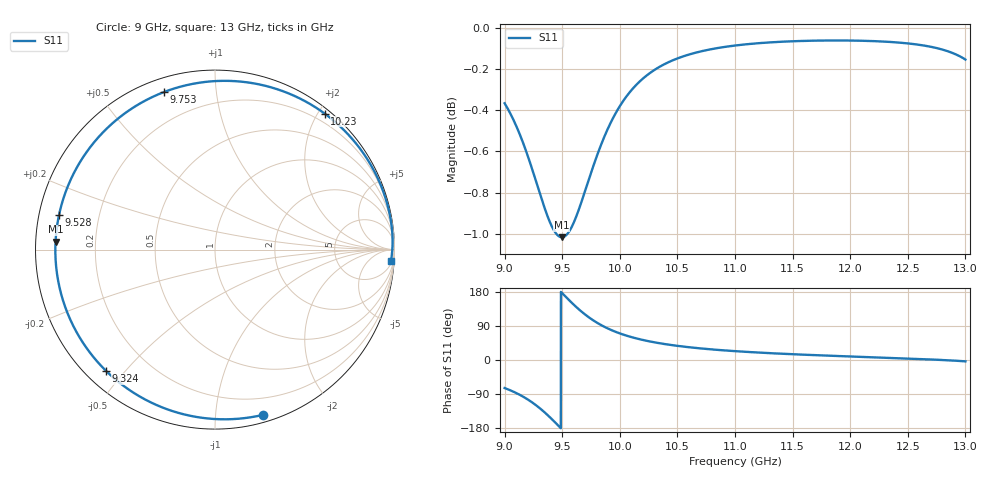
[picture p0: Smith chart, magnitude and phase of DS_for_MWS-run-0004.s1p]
! TOUCHSTONE file generated by CST DESIGN STUDIO
! Date and time: Tue Feb  4 17:06:43 2025
! Project name: C:\Work\MatlabApps\UnitCellOptimizationMatlab\CST\unitcell.cst
! Tree item: Tasks\Sweep1\SPara1\S-Parameters
! Header version: 2024
! Port assignment regex: !\s*Touchstone port\s*([0-9]+)\s*=\s*(CST MWS port|CST DES external port|CST DES block port)\s*(.+)\s* \(\"(.*)\"\)(\s*mode\s*([0-9]+))?.*
! Touchstone port assignment:
! Touchstone port 1 = CST DES external port 1 ("")
# GHz S MA R 50
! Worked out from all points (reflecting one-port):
!   4001 points, 9 GHz to 13 GHz, reference 50 ohm
!   lowest |S11| = -1.0 dB at 9.497 GHz (marker M1), VSWR 17.10, Z = 2.93 + j1.21 ohm
!   phase of S11 starts at -74 deg and turns -290 deg over the sweep
!   S11 on the Smith chart (normalised r, x): 9 GHz: 0.06, -1.33; 9.324 GHz: 0.06, -0.44; 9.528 GHz: 0.06, +0.11; 9.753 GHz: 0.06, +0.73; 10.23 GHz: 0.07, +2.09; 13 GHz: 8, -30
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9  0.9588 -74.0
9.085  0.9488 -84.8
9.186  0.9335 -101.3
9.258  0.9206 -116.0
9.324  0.9083 -132.0
9.37  0.9005 -144.4
9.418  0.894 -158.4
9.458  0.8906 -170.7
9.497  0.8895 177.2
9.5  0.8895 176.3
9.528  0.8902 167.6
9.581  0.8945 151.5
9.643  0.9032 134.1
9.697  0.9125 120.5
9.753  0.9226 108.0
9.859  0.94 88.7
9.928  0.9493 78.8
10  0.9572 70.2
10.106  0.9662 60.0
10.226  0.9734 51.1
10.353  0.9788 43.9
10.5  0.9831 37.3
10.722  0.9873 30.0
11  0.9902 23.4
11.5  0.9926 15.2
12  0.993 9.3
12.5  0.9914 3.9
13  0.9825 -3.6
